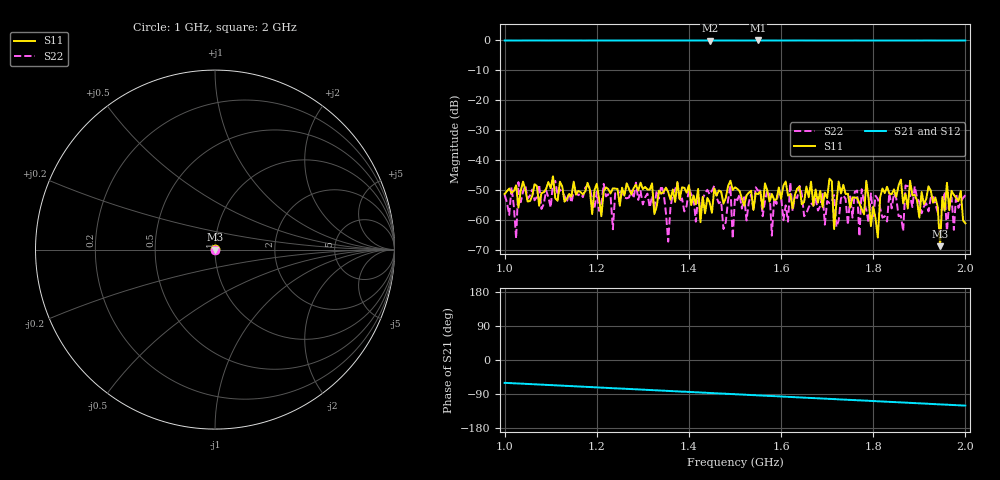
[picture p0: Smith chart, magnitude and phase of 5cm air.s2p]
!Keysight Technologies N9950B: A.12.38
!Date: Saturday, 22 April 2023 16:26:47
!Timezone: (UTC-06:00) Central Time (US & Canada)
!Model: N9950B
!Serial: MY61131330
!GPS Latitude:
!GPS Longitude:
!GPS TimeStamp: 0001-01-01 00:00:00Z
!GPS Seconds Since Last Read: 0
!CHECKSUM:1381819790
!Correction: S11(ON U)S21(ON U)S12(ON U)S22(ON U)
!S2P File: Measurements:S11,S21,S12,S22:
# Hz S DB R 50
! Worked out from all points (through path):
!   201 points, 1 GHz to 2 GHz, reference 50 ohm
!   highest |S21| = -0.01 dB at 1.55 GHz (marker M1); lowest = 0.0 dB at 1.445 GHz (marker M2)
!   group delay of S21, straight-line fit = 167 ps
!   lowest |S11| = -68.8 dB at 1.945 GHz (marker M3), VSWR 1.00, Z = 50 - j0.0221 ohm
!   |S11| at or under -10 dB: start of sweep to end of sweep
!   |S22| runs from -67.3 to -47.0 dB; largest |S21 - S12| = 0.0042
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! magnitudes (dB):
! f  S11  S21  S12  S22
! 1 GHz  -51.4  0.0  0.0  -51.7
! 1.025 GHz  -48.5  0.0  0.0  -66.3
! 1.03 GHz  -55.9  0.0  0.0  -47.4
! 1.17 GHz  -51.5  0.0  0.0  -52.4
! 1.335 GHz  -50.3  0.0  0.0  -52.9
! 1.355 GHz  -50.7  0.0  0.0  -67.3
! 1.375 GHz  -47.4  0.0  0.0  -47.7
! 1.445 GHz  -54.2  0.0  0.0  -51.5
! 1.49 GHz  -46.9  0.0  0.0  -48.7
! 1.495 GHz  -50.0  0.0  0.0  -66.3
! 1.5 GHz  -49.2  0.0  0.0  -52.5
! 1.55 GHz  -51.4  0.0  0.0  -50.3
! 1.58 GHz  -51.3  0.0  0.0  -65.3
! 1.595 GHz  -49.2  0.0  0.0  -49.6
! 1.67 GHz  -55.3  0.0  0.0  -55.3
! 1.785 GHz  -47.0  0.0  0.0  -56.7
! 1.81 GHz  -66.0  0.0  0.0  -53.1
! 1.835 GHz  -51.2  0.0  0.0  -51.0
! 1.92 GHz  -48.8  0.0  0.0  -57.2
! 1.945 GHz  -68.8  0.0  0.0  -56.7
! 1.96 GHz  -47.7  0.0  0.0  -63.9
! 2 GHz  -61.2  0.0  0.0  -51.8
